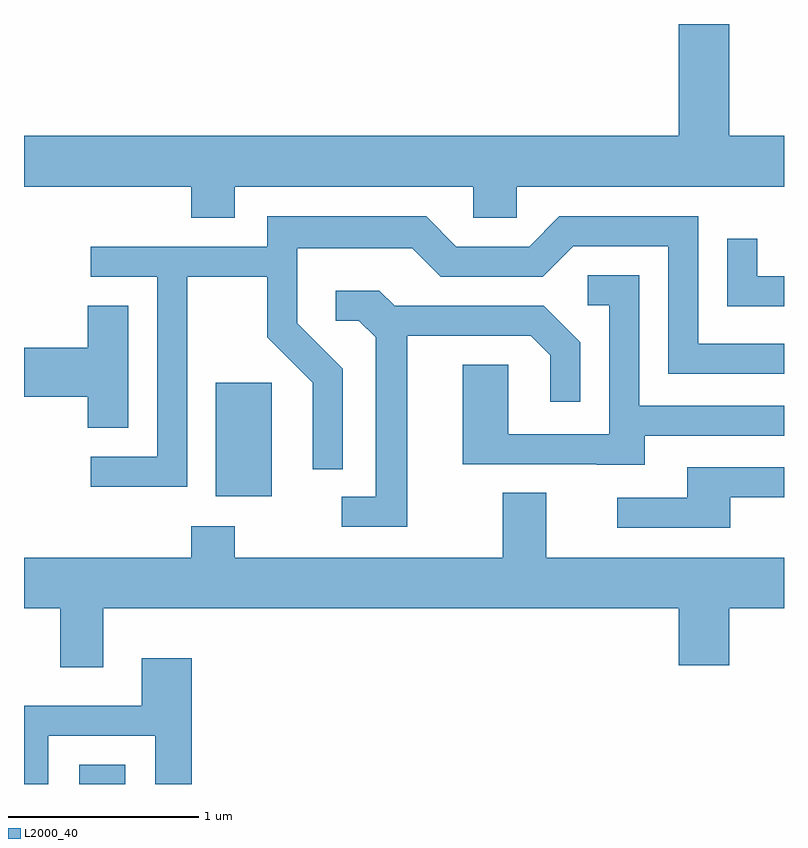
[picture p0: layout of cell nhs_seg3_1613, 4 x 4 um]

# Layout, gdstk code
import gdstk
lib = gdstk.Library(unit=1e-6, precision=1e-09)
def R(c, l, rs):  # rectangles x0, y0, x1, y1
    for r in rs: c.add(gdstk.rectangle(r[:2], r[2:], *l))
def P(c, l, *ps):  # polygons
    for p in ps: c.add(gdstk.Polygon(p, *l))
L2000_40 = (2000, 40)

nhs_seg3_1613 = lib.new_cell('nhs_seg3_1613')
R(nhs_seg3_1613, L2000_40, [(231.901,1213.892,232.144,1213.994), (232.621,1215.406,232.914,1216.004)])
P(nhs_seg3_1613, L2000_40, [(232.719,1217.036),(233.976,1217.036),(233.976,1216.871),(234.204,1216.871),(234.204,1217.036),(235.611,1217.036),(235.611,1217.304),(235.324,1217.304),(235.324,1217.892),(235.056,1217.892),(235.056,1217.304),(231.611,1217.304),(231.611,1217.036),(232.491,1217.036),(232.491,1216.871),(232.719,1216.871)],
  [(232.469,1216.561),(232.891,1216.561),(232.891,1216.244),(233.131,1216.004),(233.131,1215.548),(233.289,1215.548),(233.289,1216.077),(233.049,1216.317),(233.049,1216.711),(233.654,1216.711),(233.804,1216.561),(234.342,1216.561),(234.502,1216.721),(235.001,1216.721),(235.001,1216.051),(235.611,1216.051),(235.611,1216.209),(235.159,1216.209),(235.159,1216.879),(234.429,1216.879),(234.269,1216.719),(233.887,1216.719),(233.727,1216.879),(232.891,1216.879),(232.891,1216.719),(231.963,1216.719),(231.963,1216.561),(232.311,1216.561),(232.311,1215.614),(231.963,1215.614),(231.963,1215.456),(232.469,1215.456)],
  [(235.611,1216.564),(235.469,1216.564),(235.469,1216.763),(235.311,1216.763),(235.311,1216.406),(235.611,1216.406)],
  [(234.879,1215.726),(235.611,1215.726),(235.611,1215.884),(234.849,1215.884),(234.849,1216.569),(234.578,1216.569),(234.578,1216.411),(234.691,1216.411),(234.691,1215.734),(234.159,1215.734),(234.159,1216.099),(233.921,1216.099),(233.921,1215.576),(234.625,1215.576),(234.625,1215.571),(234.879,1215.571)],
  [(233.629,1216.251),(234.279,1216.251),(234.381,1216.149),(234.381,1215.903),(234.539,1215.903),(234.539,1216.217),(234.347,1216.409),(233.562,1216.409),(233.482,1216.489),(233.253,1216.489),(233.253,1216.331),(233.374,1216.331),(233.461,1216.244),(233.461,1215.404),(233.283,1215.404),(233.283,1215.246),(233.629,1215.246)],
  [(232.159,1216.409),(231.946,1216.409),(231.946,1216.189),(231.611,1216.189),(231.611,1215.931),(231.946,1215.931),(231.946,1215.766),(232.159,1215.766)],
  [(235.329,1215.401),(235.611,1215.401),(235.611,1215.559),(235.101,1215.559),(235.101,1215.399),(234.733,1215.399),(234.733,1215.241),(235.329,1215.241)],
  [(232.029,1214.816),(235.056,1214.816),(235.056,1214.516),(235.324,1214.516),(235.324,1214.816),(235.611,1214.816),(235.611,1215.084),(234.359,1215.084),(234.359,1215.424),(234.131,1215.424),(234.131,1215.084),(232.719,1215.084),(232.719,1215.249),(232.491,1215.249),(232.491,1215.084),(231.611,1215.084),(231.611,1214.816),(231.801,1214.816),(231.801,1214.506),(232.029,1214.506)],
  [(231.739,1214.146),(232.301,1214.146),(232.301,1213.892),(232.494,1213.892),(232.494,1214.554),(232.231,1214.554),(232.231,1214.304),(231.611,1214.304),(231.611,1213.892),(231.739,1213.892)])

lib.write_gds('nhs_seg3_1613.gds')
